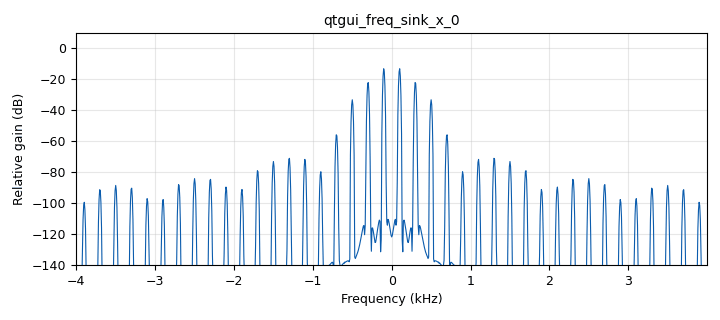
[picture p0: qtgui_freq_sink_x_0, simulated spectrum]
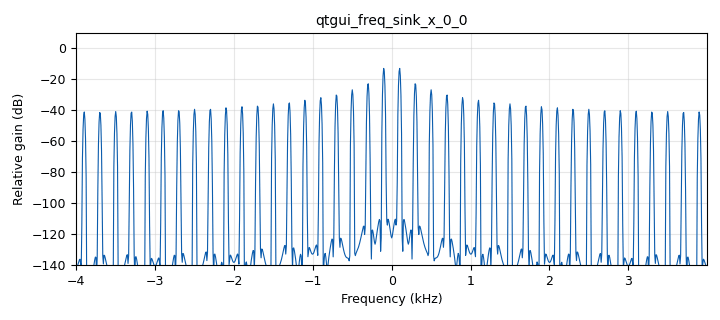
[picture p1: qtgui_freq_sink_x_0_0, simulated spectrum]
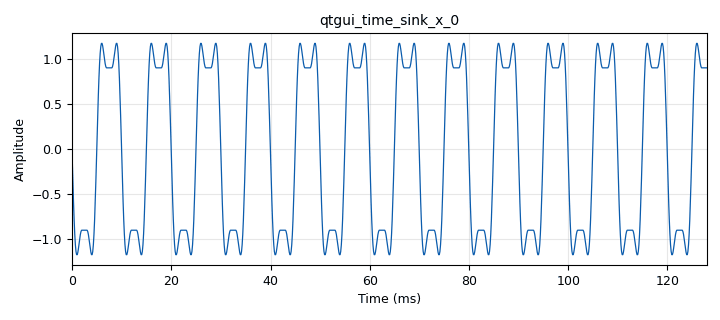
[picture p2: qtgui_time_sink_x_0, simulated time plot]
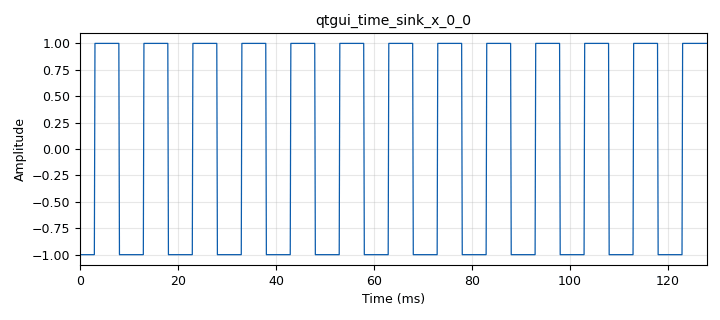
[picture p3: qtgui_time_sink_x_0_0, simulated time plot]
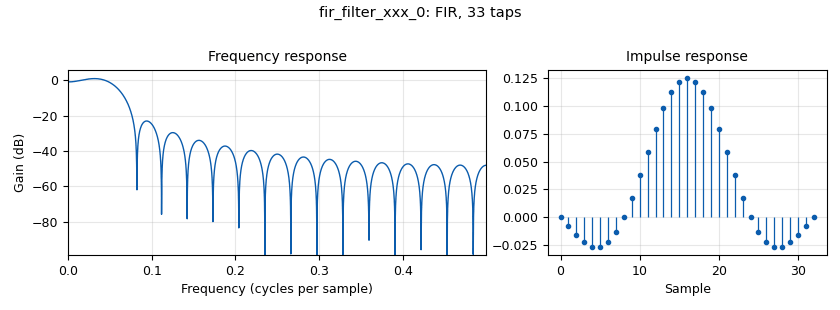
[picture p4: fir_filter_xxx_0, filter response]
<?xml version='1.0' encoding='utf-8'?>
<?grc format='1' created='3.7.9'?>
<flow_graph>
<block>
<key>options</key>
<param><key>id</key><value>Labo2_1b</value></param>
<param><key>author</key><value>Leocarlos B S Lima</value></param>
<param><key>category</key><value>Custom</value></param>
<param><key>description</key><value>Experimento para Laboratório de Princípios de Comunicações. Departamento de Engenharia Elétrica - DEE da Universidade Federal de Campina Grande - UFCG.</value></param>
<param><key>generate_options</key><value>qt_gui</value></param>
<param><key>title</key><value>Filtragem de sinais</value></param>
</block>
<block>
<key>variable</key>
<param><key>id</key><value>samp_rate</value></param>
<param><key>value</key><value>8000</value></param>
</block>
<block>
<key>analog_sig_source_x</key>
<param><key>id</key><value>analog_sig_source_x_0</value></param>
<param><key>amp</key><value>2</value></param>
<param><key>freq</key><value>100</value></param>
<param><key>offset</key><value>-1</value></param>
<param><key>type</key><value>float</value></param>
<param><key>samp_rate</key><value>samp_rate</value></param>
<param><key>waveform</key><value>analog.GR_SQR_WAVE</value></param>
</block>
<block>
<key>blocks_throttle</key>
<param><key>id</key><value>blocks_throttle_0</value></param>
<param><key>samples_per_second</key><value>samp_rate</value></param>
<param><key>type</key><value>float</value></param>
</block>
<block>
<key>fir_filter_xxx</key>
<param><key>id</key><value>fir_filter_xxx_0</value></param>
<param><key>decim</key><value>1</value></param>
<param><key>taps</key><value>[-2.49807e-08, -0.00812082, -0.0160771, -0.0226216, -0.0265258, -0.0267345, -0.0225079, -0.0135346, 2.49807e-08, 0.0174017, 0.0375132, 0.058816, 0.0795775, 0.0980267, 0.11254, 0.121812, 0.125, 0.121812, 0.11254, 0.0980267, 0.0795775, 0.058816, 0.0375132, 0.0174017, 2.49807e-08, -0.0135346, -0.0225079, -0.0267345, -0.0265258, -0.0226216, -0.0160771, -0.00812082, -2.49807e-08]</value></param>
<param><key>type</key><value>fff</value></param>
</block>
<block>
<key>qtgui_freq_sink_x</key>
<param><key>id</key><value>qtgui_freq_sink_x_0</value></param>
<param><key>bw</key><value>samp_rate</value></param>
<param><key>fc</key><value>0</value></param>
<param><key>fftsize</key><value>1024</value></param>
<param><key>grid</key><value>True</value></param>
<param><key>showports</key><value>True</value></param>
<param><key>type</key><value>float</value></param>
<param><key>wintype</key><value>firdes.WIN_BLACKMAN_hARRIS</value></param>
</block>
<block>
<key>qtgui_freq_sink_x</key>
<param><key>id</key><value>qtgui_freq_sink_x_0_0</value></param>
<param><key>bw</key><value>samp_rate</value></param>
<param><key>fc</key><value>0</value></param>
<param><key>fftsize</key><value>1024</value></param>
<param><key>grid</key><value>True</value></param>
<param><key>showports</key><value>True</value></param>
<param><key>type</key><value>float</value></param>
<param><key>wintype</key><value>firdes.WIN_BLACKMAN_hARRIS</value></param>
</block>
<block>
<key>qtgui_time_sink_x</key>
<param><key>id</key><value>qtgui_time_sink_x_0</value></param>
<param><key>autoscale</key><value>True</value></param>
<param><key>grid</key><value>True</value></param>
<param><key>color1</key><value>"blue"</value></param>
<param><key>label1</key><value></value></param>
<param><key>size</key><value>1024</value></param>
<param><key>srate</key><value>samp_rate</value></param>
<param><key>type</key><value>float</value></param>
</block>
<block>
<key>qtgui_time_sink_x</key>
<param><key>id</key><value>qtgui_time_sink_x_0_0</value></param>
<param><key>autoscale</key><value>True</value></param>
<param><key>grid</key><value>True</value></param>
<param><key>color1</key><value>"blue"</value></param>
<param><key>label1</key><value></value></param>
<param><key>size</key><value>1024</value></param>
<param><key>srate</key><value>samp_rate</value></param>
<param><key>type</key><value>float</value></param>
</block>
<connection><source_block_id>analog_sig_source_x_0</source_block_id><sink_block_id>blocks_throttle_0</sink_block_id><source_key>0</source_key><sink_key>0</sink_key></connection>
<connection><source_block_id>blocks_throttle_0</source_block_id><sink_block_id>fir_filter_xxx_0</sink_block_id><source_key>0</source_key><sink_key>0</sink_key></connection>
<connection><source_block_id>blocks_throttle_0</source_block_id><sink_block_id>qtgui_freq_sink_x_0_0</sink_block_id><source_key>0</source_key><sink_key>0</sink_key></connection>
<connection><source_block_id>blocks_throttle_0</source_block_id><sink_block_id>qtgui_time_sink_x_0_0</sink_block_id><source_key>0</source_key><sink_key>0</sink_key></connection>
<connection><source_block_id>fir_filter_xxx_0</source_block_id><sink_block_id>qtgui_freq_sink_x_0</sink_block_id><source_key>0</source_key><sink_key>0</sink_key></connection>
<connection><source_block_id>fir_filter_xxx_0</source_block_id><sink_block_id>qtgui_time_sink_x_0</sink_block_id><source_key>0</source_key><sink_key>0</sink_key></connection>
</flow_graph>
